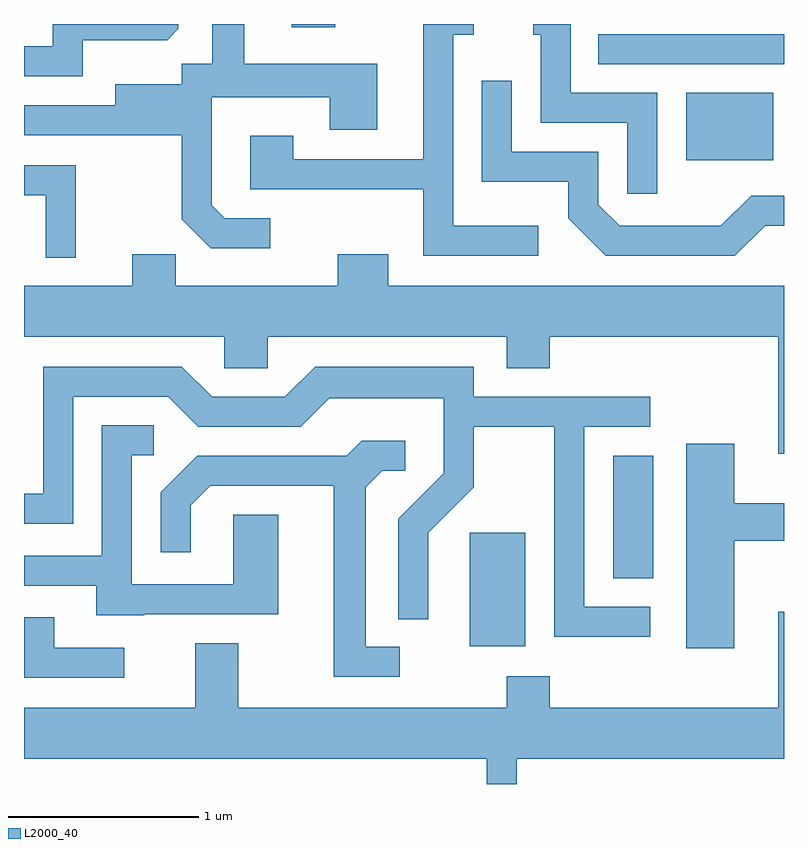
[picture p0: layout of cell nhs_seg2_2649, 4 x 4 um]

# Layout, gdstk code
import gdstk
lib = gdstk.Library(unit=1e-6, precision=1e-09)
def R(c, l, rs):  # rectangles x0, y0, x1, y1
    for r in rs: c.add(gdstk.rectangle(r[:2], r[2:], *l))
def P(c, l, *ps):  # polygons
    for p in ps: c.add(gdstk.Polygon(p, *l))
L2000_40 = (2000, 40)

nhs_seg2_2649 = lib.new_cell('nhs_seg2_2649')
R(nhs_seg2_2649, L2000_40, [(265.956,984.526,266.249,985.124), (266.711,984.886,266.924,985.529), (267.096,987.086,267.554,987.439), (266.633,987.591,267.611,987.749), (265.021,987.786,265.249,987.802)])
P(nhs_seg2_2649, L2000_40, [(266.318,986.739),(265.869,986.739),(265.869,987.746),(265.979,987.746),(265.979,987.802),(265.711,987.802),(265.711,987.089),(265.029,987.089),(265.029,987.214),(264.801,987.214),(264.801,986.931),(265.711,986.931),(265.711,986.581),(266.318,986.581)],
  [(264.908,986.779),(264.667,986.779),(264.599,986.847),(264.599,987.416),(265.221,987.416),(265.221,987.246),(265.469,987.246),(265.469,987.594),(264.769,987.594),(264.769,987.802),(264.601,987.802),(264.601,987.594),(264.441,987.594),(264.441,987.484),(264.091,987.484),(264.091,987.374),(263.611,987.374),(263.611,987.216),(264.441,987.216),(264.441,986.774),(264.594,986.621),(264.908,986.621)],
  [(263.919,987.716),(264.364,987.716),(264.424,987.777),(264.424,987.802),(263.761,987.802),(263.761,987.684),(263.611,987.684),(263.611,987.526),(263.919,987.526)],
  [(266.944,987.439),(266.489,987.439),(266.489,987.802),(266.291,987.802),(266.291,987.746),(266.331,987.746),(266.331,987.281),(266.786,987.281),(266.786,986.908),(266.944,986.908)],
  [(267.512,986.741),(267.611,986.741),(267.611,986.899),(267.439,986.899),(267.279,986.739),(266.747,986.739),(266.634,986.852),(266.634,987.129),(266.179,987.129),(266.179,987.503),(266.021,987.503),(266.021,986.971),(266.476,986.971),(266.476,986.779),(266.674,986.581),(267.352,986.581)],
  [(263.884,987.059),(263.611,987.059),(263.611,986.901),(263.726,986.901),(263.726,986.573),(263.884,986.573)],
  [(267.611,986.424),(265.529,986.424),(265.529,986.589),(265.261,986.589),(265.261,986.424),(264.409,986.424),(264.409,986.589),(264.181,986.589),(264.181,986.424),(263.611,986.424),(263.611,986.156),(264.666,986.156),(264.666,985.991),(264.894,985.991),(264.894,986.156),(266.151,986.156),(266.151,985.991),(266.379,985.991),(266.379,986.156),(267.581,986.156),(267.581,985.541),(267.611,985.541)],
  [(266.908,984.734),(266.559,984.734),(266.559,985.681),(266.908,985.681),(266.908,985.839),(265.979,985.839),(265.979,985.999),(265.144,985.999),(264.984,985.839),(264.602,985.839),(264.442,985.999),(263.711,985.999),(263.711,985.329),(263.611,985.329),(263.611,985.171),(263.869,985.171),(263.869,985.841),(264.369,985.841),(264.529,985.681),(265.067,985.681),(265.217,985.831),(265.821,985.831),(265.821,985.437),(265.581,985.197),(265.581,984.668),(265.739,984.668),(265.739,985.124),(265.979,985.364),(265.979,985.681),(266.401,985.681),(266.401,984.576),(266.908,984.576)],
  [(264.245,984.696),(264.949,984.696),(264.949,985.219),(264.711,985.219),(264.711,984.854),(264.179,984.854),(264.179,985.531),(264.293,985.531),(264.293,985.689),(264.021,985.689),(264.021,985.004),(263.611,985.004),(263.611,984.846),(263.991,984.846),(263.991,984.691),(264.245,984.691)],
  [(265.588,984.524),(265.409,984.524),(265.409,985.364),(265.497,985.451),(265.618,985.451),(265.618,985.609),(265.389,985.609),(265.309,985.529),(264.524,985.529),(264.331,985.337),(264.331,985.023),(264.489,985.023),(264.489,985.269),(264.592,985.371),(265.241,985.371),(265.241,984.366),(265.588,984.366)],
  [(267.349,985.081),(267.611,985.081),(267.611,985.279),(267.349,985.279),(267.349,985.594),(267.096,985.594),(267.096,984.516),(267.349,984.516)],
  [(266.204,983.936),(267.611,983.936),(267.611,984.709),(267.581,984.709),(267.581,984.204),(266.379,984.204),(266.379,984.369),(266.151,984.369),(266.151,984.204),(264.739,984.204),(264.739,984.544),(264.511,984.544),(264.511,984.204),(263.611,984.204),(263.611,983.936),(266.046,983.936),(266.046,983.802),(266.204,983.802)],
  [(264.138,984.519),(263.769,984.519),(263.769,984.679),(263.611,984.679),(263.611,984.361),(264.138,984.361)])

lib.write_gds('nhs_seg2_2649.gds')
